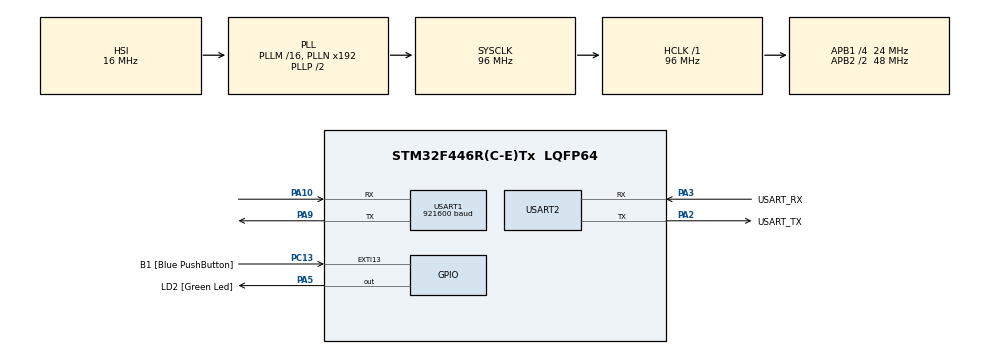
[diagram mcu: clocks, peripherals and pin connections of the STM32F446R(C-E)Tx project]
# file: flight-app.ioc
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Dma.Request0=USART1_RX
Dma.Request1=USART1_TX
Dma.USART1_RX.0.Direction=DMA_PERIPH_TO_MEMORY
Dma.USART1_RX.0.FIFOMode=DMA_FIFOMODE_DISABLE
Dma.USART1_RX.0.Instance=DMA2_Stream2
Dma.USART1_RX.0.MemDataAlignment=DMA_MDATAALIGN_BYTE
Dma.USART1_RX.0.MemInc=DMA_MINC_ENABLE
Dma.USART1_RX.0.Mode=DMA_CIRCULAR
Dma.USART1_RX.0.PeriphDataAlignment=DMA_PDATAALIGN_BYTE
Dma.USART1_RX.0.PeriphInc=DMA_PINC_DISABLE
Dma.USART1_RX.0.Priority=DMA_PRIORITY_LOW
Dma.USART1_TX.1.Direction=DMA_MEMORY_TO_PERIPH
Dma.USART1_TX.1.FIFOMode=DMA_FIFOMODE_DISABLE
Dma.USART1_TX.1.Instance=DMA2_Stream7
Dma.USART1_TX.1.MemDataAlignment=DMA_MDATAALIGN_BYTE
Dma.USART1_TX.1.MemInc=DMA_MINC_ENABLE
Dma.USART1_TX.1.Mode=DMA_NORMAL
Dma.USART1_TX.1.PeriphDataAlignment=DMA_PDATAALIGN_BYTE
Dma.USART1_TX.1.PeriphInc=DMA_PINC_DISABLE
Dma.USART1_TX.1.Priority=DMA_PRIORITY_LOW
FREERTOS.Tasks01=defaultTask,24,128,StartDefaultTask,Default,NULL,Dynamic,NULL,NULL
Mcu.Family=STM32F4
Mcu.Name=STM32F446R(C-E)Tx
Mcu.Package=LQFP64
NVIC.DMA2_Stream2_IRQn=true\:5\:0\:false\:false\:true\:true\:false\:true\:true
NVIC.DMA2_Stream7_IRQn=true\:5\:0\:false\:false\:true\:true\:false\:true\:true
NVIC.PriorityGroup=NVIC_PRIORITYGROUP_4
NVIC.TIM6_DAC_IRQn=true\:0\:0\:false\:false\:true\:false\:false\:true\:true
NVIC.TimeBase=TIM6_DAC_IRQn
NVIC.TimeBaseIP=TIM6
NVIC.USART1_IRQn=true\:5\:0\:false\:false\:true\:true\:true\:true\:true
PA10.Mode=Asynchronous
PA10.Signal=USART1_RX
PA13.GPIO_Label=TMS
PA13.Mode=Serial_Wire
PA13.Signal=SYS_JTMS-SWDIO
PA14.GPIO_Label=TCK
PA14.Mode=Serial_Wire
PA14.Signal=SYS_JTCK-SWCLK
PA2.GPIO_Label=USART_TX
PA2.Mode=Asynchronous
PA2.Signal=USART2_TX
PA3.GPIO_Label=USART_RX
PA3.Mode=Asynchronous
PA3.Signal=USART2_RX
PA5.GPIO_Label=LD2 [Green Led]
PA5.Signal=GPIO_Output
PA9.Mode=Asynchronous
PA9.Signal=USART1_TX
PB3.GPIO_Label=SWO
PB3.Signal=SYS_JTDO-SWO
PC13.GPIO_Label=B1 [Blue PushButton]
PC13.GPIO_ModeDefaultEXTI=GPIO_MODE_IT_FALLING
PC13.Signal=GPXTI13
PC14-OSC32_IN.Signal=RCC_OSC32_IN
PC15-OSC32_OUT.Signal=RCC_OSC32_OUT
PH0-OSC_IN.Signal=RCC_OSC_IN
PH1-OSC_OUT.Signal=RCC_OSC_OUT
ProjectManager.HeapSize=0x200
ProjectManager.StackSize=0x400
ProjectManager.TargetToolchain=STM32CubeIDE
RCC.AHBFreq_Value=96000000
RCC.APB1CLKDivider=RCC_HCLK_DIV4
RCC.APB1Freq_Value=24000000
RCC.APB1TimFreq_Value=48000000
RCC.APB2CLKDivider=RCC_HCLK_DIV2
RCC.APB2Freq_Value=48000000
RCC.APB2TimFreq_Value=96000000
RCC.CortexFreq_Value=96000000
RCC.FLatency-AdvancedSettings=FLASH_LATENCY_3
RCC.HCLKFreq_Value=96000000
RCC.HSE_VALUE=8000000
RCC.HSI_VALUE=16000000
RCC.LSE_VALUE=32768
RCC.SYSCLKFreq_VALUE=96000000
RCC.SYSCLKSource=RCC_SYSCLKSOURCE_PLLCLK
RCC.USBFreq_Value=96000000
RCC.VCOOutputFreq_Value=192000000
USART1.BaudRate=921600
USART1.VirtualMode=VM_ASYNC
USART2.VirtualMode=VM_ASYNC
VP_FREERTOS_VS_CMSIS_V2.Mode=CMSIS_V2
VP_SYS_VS_tim6.Mode=TIM6
board=NUCLEO-F446RE

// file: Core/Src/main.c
/* USER CODE BEGIN Header */
/**
  ******************************************************************************
  * @file           : main.c
  * @brief          : Main program body
  ******************************************************************************
  * @attention
  *
  * Copyright (c) 2026 STMicroelectronics.
  * All rights reserved.
  *
  * This software is licensed under terms that can be found in the LICENSE file
  * in the root directory of this software component.
  * If no LICENSE file comes with this software, it is provided AS-IS.
  *
  ******************************************************************************
  */
/* USER CODE END Header */
#include "main.h"
#include "cmsis_os.h"
#include "dma.h"
#include "usart.h"
#include "gpio.h"

void SystemClock_Config(void);
void MX_FREERTOS_Init(void);

int main(void)
{

  /* MCU Configuration--------------------------------------------------------*/

  /* Reset of all peripherals, Initializes the Flash interface and the Systick. */
  HAL_Init();

  /* Configure the system clock */
  SystemClock_Config();

  /* Initialize all configured peripherals */
  MX_GPIO_Init();
  MX_DMA_Init();
  MX_USART1_UART_Init();
  MX_USART2_UART_Init();
  /* USER CODE BEGIN 2 */
  static const uint8_t boot_message[] = "flight-app boot\r\n";
  (void)HAL_UART_Transmit(&huart2, boot_message, sizeof(boot_message) - 1U, 100U);
  static const uint8_t usart1_test_message[] = "USART1 hello test\r\n";
  (void)HAL_UART_Transmit(&huart1, usart1_test_message,
                          sizeof(usart1_test_message) - 1U, 100U);
  /* USER CODE END 2 */

  /* Init scheduler */
  osKernelInitialize();  /* Call init function for freertos objects (in cmsis_os2.c) */
  MX_FREERTOS_Init();

  /* Start scheduler */
  osKernelStart();

  /* We should never get here as control is now taken by the scheduler */

  /* Infinite loop */
  while (1)
  {

  }
}

void SystemClock_Config(void)
{
  RCC_OscInitTypeDef RCC_OscInitStruct = {0};
  RCC_ClkInitTypeDef RCC_ClkInitStruct = {0};

  /** Configure the main internal regulator output voltage
  */
  __HAL_RCC_PWR_CLK_ENABLE();
  __HAL_PWR_VOLTAGESCALING_CONFIG(PWR_REGULATOR_VOLTAGE_SCALE3);

  /** Initializes the RCC Oscillators according to the specified parameters
  * in the RCC_OscInitTypeDef structure.
  */
  RCC_OscInitStruct.OscillatorType = RCC_OSCILLATORTYPE_HSI;
  RCC_OscInitStruct.HSIState = RCC_HSI_ON;
  RCC_OscInitStruct.HSICalibrationValue = RCC_HSICALIBRATION_DEFAULT;
  RCC_OscInitStruct.PLL.PLLState = RCC_PLL_ON;
  RCC_OscInitStruct.PLL.PLLSource = RCC_PLLSOURCE_HSI;
  RCC_OscInitStruct.PLL.PLLM = 16;
  RCC_OscInitStruct.PLL.PLLN = 192;
  RCC_OscInitStruct.PLL.PLLP = RCC_PLLP_DIV2;
  RCC_OscInitStruct.PLL.PLLQ = 2;
  RCC_OscInitStruct.PLL.PLLR = 2;
  if (HAL_RCC_OscConfig(&RCC_OscInitStruct) != HAL_OK)
  {
    Error_Handler();
  }

  /** Initializes the CPU, AHB and APB buses clocks
  */
  RCC_ClkInitStruct.ClockType = RCC_CLOCKTYPE_HCLK|RCC_CLOCKTYPE_SYSCLK
                              |RCC_CLOCKTYPE_PCLK1|RCC_CLOCKTYPE_PCLK2;
  RCC_ClkInitStruct.SYSCLKSource = RCC_SYSCLKSOURCE_PLLCLK;
  RCC_ClkInitStruct.AHBCLKDivider = RCC_SYSCLK_DIV1;
  RCC_ClkInitStruct.APB1CLKDivider = RCC_HCLK_DIV4;
  RCC_ClkInitStruct.APB2CLKDivider = RCC_HCLK_DIV2;

  if (HAL_RCC_ClockConfig(&RCC_ClkInitStruct, FLASH_LATENCY_3) != HAL_OK)
  {
    Error_Handler();
  }
}

void HAL_TIM_PeriodElapsedCallback(TIM_HandleTypeDef *htim)
{
  if (htim->Instance == TIM6)
  {
    HAL_IncTick();
  }
}

void Error_Handler(void)
{
  __disable_irq();
  while (1)
  {
  }
}

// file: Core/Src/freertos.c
/* USER CODE BEGIN Header */
/**
  ******************************************************************************
  * File Name          : freertos.c
  * Description        : Code for freertos applications
  ******************************************************************************
  * @attention
  *
  * Copyright (c) 2026 STMicroelectronics.
  * All rights reserved.
  *
  * This software is licensed under terms that can be found in the LICENSE file
  * in the root directory of this software component.
  * If no LICENSE file comes with this software, it is provided AS-IS.
  *
  ******************************************************************************
  */
/* USER CODE END Header */

#include "FreeRTOS.h"
#include "task.h"
#include "main.h"
#include "cmsis_os.h"

/* USER CODE BEGIN Includes */
#include "hil_link.h"

/* USER CODE END Includes */

/* USER CODE BEGIN Variables */
static const osThreadAttr_t hil_loopback_attributes = {
  .name = "hilLoopback",
  .stack_size = 768U,
  .priority = osPriorityAboveNormal,
};

/* USER CODE END Variables */
/* Definitions for defaultTask */
osThreadId_t defaultTaskHandle;
const osThreadAttr_t defaultTask_attributes = {
  .name = "defaultTask",
  .stack_size = 128 * 4,
  .priority = (osPriority_t) osPriorityNormal,
};

void StartDefaultTask(void *argument);

void MX_FREERTOS_Init(void); /* (MISRA C 2004 rule 8.1) */

void MX_FREERTOS_Init(void) {

  /* Create the thread(s) */
  /* creation of defaultTask */
  defaultTaskHandle = osThreadNew(StartDefaultTask, NULL, &defaultTask_attributes);

  /* USER CODE BEGIN RTOS_THREADS */
  if (osThreadNew(HilLink_LoopbackTask, NULL, &hil_loopback_attributes) == NULL)
  {
    Error_Handler();
  }
  /* USER CODE END RTOS_THREADS */

}

void StartDefaultTask(void *argument)
{
  /* USER CODE BEGIN StartDefaultTask */
  /* Infinite loop */
  for(;;)
  {
    HAL_GPIO_TogglePin(LD2_GPIO_Port, LD2_Pin);
    osDelay(500U);
  }
  /* USER CODE END StartDefaultTask */
}
